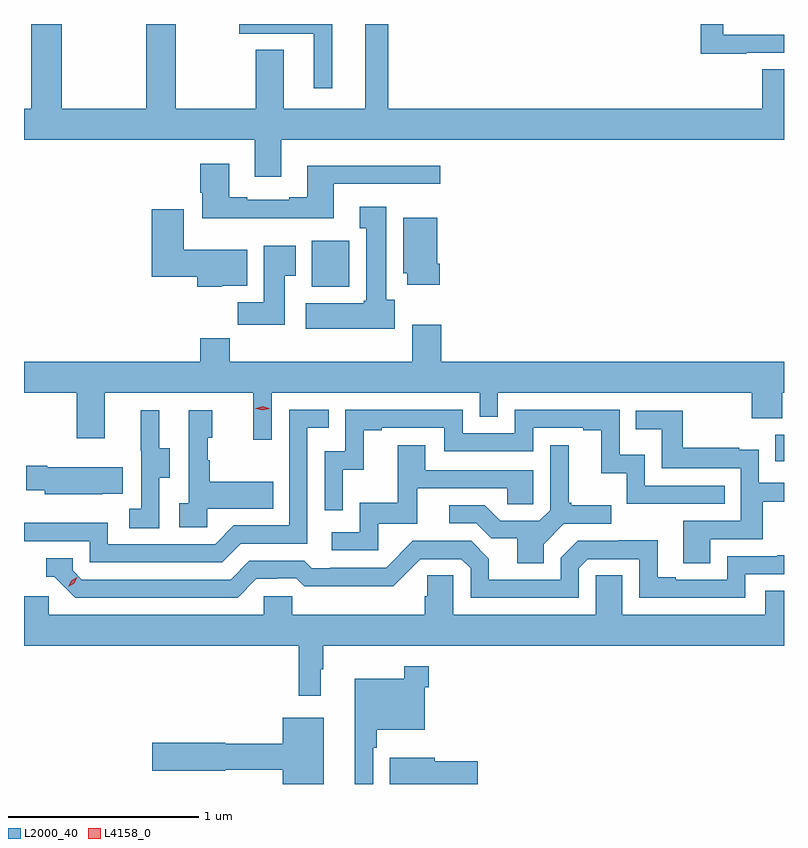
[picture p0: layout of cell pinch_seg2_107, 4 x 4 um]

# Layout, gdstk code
import gdstk
lib = gdstk.Library(unit=1e-6, precision=1e-09)
def R(c, l, rs):  # rectangles x0, y0, x1, y1
    for r in rs: c.add(gdstk.rectangle(r[:2], r[2:], *l))
def P(c, l, *ps):  # polygons
    for p in ps: c.add(gdstk.Polygon(p, *l))
L2000_40 = (2000, 40)
L4158_0 = (4158, 0)

pinch_seg2_107 = lib.new_cell('pinch_seg2_107')
R(pinch_seg2_107, L2000_40, [(1045.513,640.616,1045.56,640.756), (1043.075,641.534,1043.272,641.776)])
P(pinch_seg2_107, L2000_40, [(1042.775,642.114),(1042.915,642.114),(1042.915,642.308),(1045.56,642.308),(1045.56,642.68),(1045.445,642.68),(1045.445,642.472),(1043.478,642.472),(1043.478,642.917),(1043.357,642.917),(1043.357,642.472),(1042.927,642.472),(1042.927,642.781),(1042.78,642.781),(1042.78,642.472),(1042.359,642.472),(1042.359,642.917),(1042.204,642.917),(1042.204,642.472),(1041.759,642.472),(1041.759,642.917),(1041.599,642.917),(1041.599,642.472),(1041.56,642.472),(1041.56,642.308),(1042.775,642.308)],
  [(1043.182,642.917),(1042.694,642.917),(1042.694,642.866),(1043.084,642.866),(1043.084,642.579),(1043.182,642.579)],
  [(1045.361,642.765),(1045.56,642.765),(1045.56,642.861),(1045.239,642.861),(1045.239,642.917),(1045.123,642.917),(1045.123,642.76),(1045.361,642.76)],
  [(1043.191,642.075),(1043.752,642.075),(1043.752,642.172),(1043.051,642.172),(1043.051,642.004),(1042.955,642.004),(1042.955,641.991),(1042.735,641.991),(1042.735,642.004),(1042.639,642.004),(1042.639,642.181),(1042.487,642.181),(1042.487,642.028),(1042.499,642.028),(1042.499,641.894),(1043.191,641.894)],
  [(1043.512,641.466),(1043.467,641.466),(1043.467,641.956),(1043.327,641.956),(1043.327,641.843),(1043.36,641.843),(1043.36,641.46),(1043.347,641.46),(1043.347,641.446),(1043.043,641.446),(1043.043,641.312),(1043.512,641.312)],
  [(1042.602,641.54),(1042.735,641.54),(1042.735,641.728),(1042.402,641.728),(1042.402,641.941),(1042.232,641.941),(1042.232,641.588),(1042.472,641.588),(1042.472,641.534),(1042.602,641.534)],
  [(1043.747,641.656),(1043.734,641.656),(1043.734,641.896),(1043.555,641.896),(1043.555,641.604),(1043.576,641.604),(1043.576,641.544),(1043.747,641.544)],
  [(1042.933,641.593),(1042.99,641.593),(1042.99,641.749),(1042.823,641.749),(1042.823,641.452),(1042.684,641.452),(1042.684,641.334),(1042.933,641.334)],
  [(1042.863,640.976),(1043.958,640.976),(1043.958,640.849),(1044.054,640.849),(1044.054,640.976),(1045.39,640.976),(1045.39,640.841),(1045.55,640.841),(1045.55,640.976),(1045.56,640.976),(1045.56,641.14),(1043.756,641.14),(1043.756,641.335),(1043.603,641.335),(1043.603,641.14),(1042.643,641.14),(1042.643,641.264),(1042.487,641.264),(1042.487,641.14),(1041.56,641.14),(1041.56,640.976),(1041.838,640.976),(1041.838,640.737),(1041.985,640.737),(1041.985,640.976),(1042.766,640.976),(1042.766,640.728),(1042.863,640.728)],
  [(1043.238,640.571),(1043.348,640.571),(1043.348,640.779),(1043.443,640.779),(1043.443,640.791),(1043.772,640.791),(1043.772,640.668),(1044.24,640.668),(1044.24,640.791),(1044.503,640.791),(1044.503,640.779),(1044.599,640.779),(1044.599,640.553),(1044.732,640.553),(1044.732,640.392),(1045.247,640.392),(1045.247,640.488),(1044.828,640.488),(1044.828,640.651),(1044.696,640.651),(1044.696,640.887),(1044.144,640.887),(1044.144,640.764),(1043.868,640.764),(1043.868,640.887),(1043.25,640.887),(1043.25,640.668),(1043.142,640.668),(1043.142,640.359),(1043.238,640.359)],
  [(1042.702,640.182),(1043.052,640.182),(1043.052,640.791),(1043.165,640.791),(1043.165,640.887),(1042.956,640.887),(1042.956,640.278),(1042.665,640.278),(1042.566,640.179),(1042.002,640.179),(1042.002,640.291),(1041.56,640.291),(1041.56,640.194),(1041.906,640.194),(1041.906,640.083),(1042.603,640.083)],
  [(1042.524,640.367),(1042.871,640.367),(1042.871,640.507),(1042.537,640.507),(1042.537,640.622),(1042.527,640.622),(1042.527,640.74),(1042.552,640.74),(1042.552,640.885),(1042.428,640.885),(1042.428,640.394),(1042.377,640.394),(1042.377,640.269),(1042.524,640.269)],
  [(1042.272,640.528),(1042.327,640.528),(1042.327,640.683),(1042.273,640.683),(1042.273,640.885),(1042.175,640.885),(1042.175,640.671),(1042.176,640.671),(1042.176,640.367),(1042.113,640.367),(1042.113,640.264),(1042.272,640.264)],
  [(1045.171,640.206),(1045.448,640.206),(1045.448,640.402),(1045.56,640.402),(1045.56,640.503),(1045.428,640.503),(1045.428,640.675),(1045.325,640.675),(1045.325,640.687),(1045.027,640.687),(1045.027,640.881),(1044.781,640.881),(1044.781,640.784),(1044.916,640.784),(1044.916,640.578),(1045.332,640.578),(1045.332,640.302),(1045.031,640.302),(1045.031,640.078),(1045.171,640.078)],
  [(1044.295,640.18),(1044.402,640.287),(1044.652,640.287),(1044.652,640.384),(1044.439,640.384),(1044.439,640.396),(1044.427,640.396),(1044.427,640.699),(1044.33,640.699),(1044.33,640.359),(1044.273,640.302),(1044.067,640.302),(1043.986,640.383),(1043.799,640.383),(1043.799,640.29),(1043.94,640.29),(1044.02,640.21),(1044.155,640.21),(1044.155,640.078),(1044.295,640.078)],
  [(1043.424,640.287),(1043.629,640.287),(1043.629,640.473),(1044.103,640.473),(1044.103,640.389),(1044.24,640.389),(1044.24,640.569),(1043.671,640.569),(1043.671,640.699),(1043.527,640.699),(1043.527,640.396),(1043.328,640.396),(1043.328,640.242),(1043.18,640.242),(1043.18,640.146),(1043.424,640.146)],
  [(1041.971,640.445),(1042.079,640.445),(1042.079,640.585),(1041.682,640.585),(1041.682,640.593),(1041.571,640.593),(1041.571,640.463),(1041.669,640.463),(1041.669,640.442),(1041.971,640.442)],
  [(1042.783,639.996),(1042.89,639.996),(1042.89,639.999),(1042.993,639.999),(1043.035,639.957),(1043.268,639.957),(1043.268,639.959),(1043.504,639.959),(1043.646,640.101),(1043.862,640.101),(1043.91,640.053),(1043.91,639.897),(1044.48,639.897),(1044.48,640.053),(1044.528,640.101),(1044.798,640.101),(1044.798,639.897),(1045.356,639.897),(1045.356,640.02),(1045.56,640.02),(1045.56,640.121),(1045.525,640.121),(1045.525,640.116),(1045.26,640.116),(1045.26,639.993),(1044.991,639.993),(1044.991,640.006),(1044.895,640.006),(1044.895,640.199),(1044.69,640.199),(1044.69,640.197),(1044.474,640.197),(1044.384,640.107),(1044.384,639.993),(1044.007,639.993),(1044.007,640.103),(1043.913,640.197),(1043.607,640.197),(1043.466,640.056),(1043.173,640.056),(1043.173,640.053),(1043.074,640.053),(1043.035,640.092),(1042.746,640.092),(1042.647,639.993),(1041.864,639.993),(1041.816,640.041),(1041.816,640.104),(1041.677,640.104),(1041.677,640.008),(1041.72,640.008),(1041.831,639.897),(1042.684,639.897)],
  [(1043.122,639.521),(1043.134,639.521),(1043.134,639.644),(1045.56,639.644),(1045.56,639.935),(1045.461,639.935),(1045.461,639.808),(1044.709,639.808),(1044.709,640.016),(1044.57,640.016),(1044.57,639.808),(1043.82,639.808),(1043.82,640.016),(1043.683,640.016),(1043.683,639.906),(1043.669,639.906),(1043.669,639.808),(1042.971,639.808),(1042.971,639.906),(1042.821,639.906),(1042.821,639.808),(1041.69,639.808),(1041.69,639.906),(1041.56,639.906),(1041.56,639.644),(1043.005,639.644),(1043.005,639.381),(1043.122,639.381)],
  [(1043.397,639.107),(1043.417,639.107),(1043.417,639.203),(1043.67,639.203),(1043.67,639.425),(1043.69,639.425),(1043.69,639.538),(1043.562,639.538),(1043.562,639.472),(1043.3,639.472),(1043.3,638.917),(1043.397,638.917)],
  [(1043.137,639.265),(1042.922,639.265),(1042.922,639.128),(1042.62,639.128),(1042.62,639.134),(1042.236,639.134),(1042.236,638.987),(1042.62,638.987),(1042.62,638.992),(1042.922,638.992),(1042.922,638.917),(1043.137,638.917)],
  [(1043.947,639.038),(1043.722,639.038),(1043.722,639.055),(1043.486,639.055),(1043.486,638.917),(1043.947,638.917)])
P(pinch_seg2_107, L4158_0, [(1041.792,639.955),(1041.792,639.956),(1041.809,639.988),(1041.84,640.006),(1041.841,640.006),(1041.841,640.006),(1041.824,639.974),(1041.793,639.955)],
  [(1042.816,640.884),(1042.78,640.893),(1042.78,640.894),(1042.78,640.894),(1042.816,640.904),(1042.851,640.894),(1042.851,640.894),(1042.851,640.893)])

lib.write_gds('pinch_seg2_107.gds')
